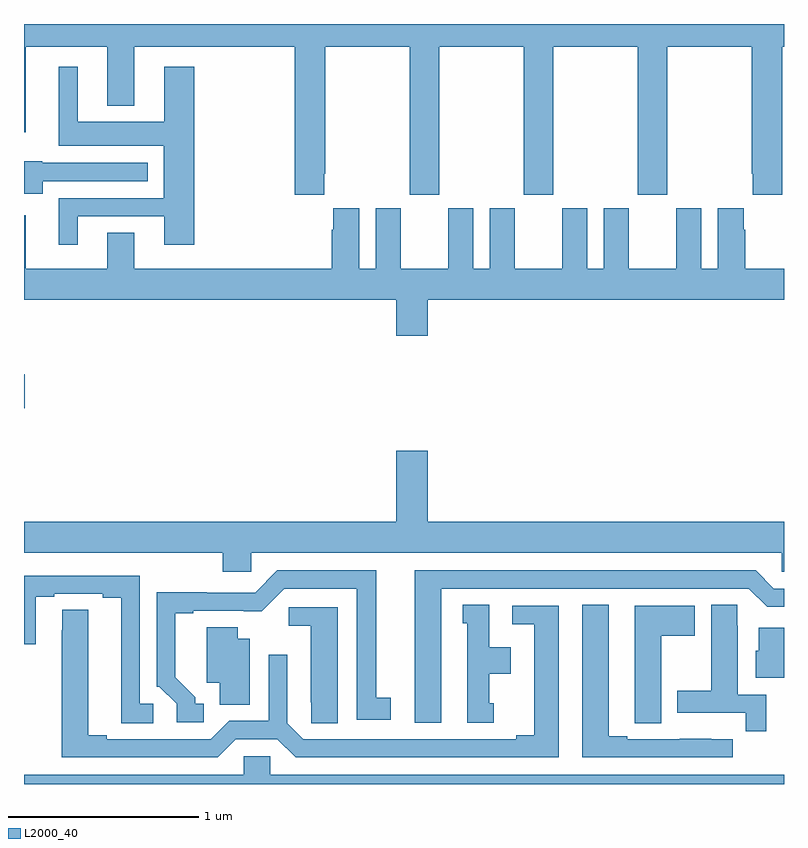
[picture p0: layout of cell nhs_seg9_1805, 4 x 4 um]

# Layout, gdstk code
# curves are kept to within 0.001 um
import gdstk
lib = gdstk.Library(unit=1e-6, precision=1e-09)
def R(c, l, rs):  # rectangles x0, y0, x1, y1
    for r in rs: c.add(gdstk.rectangle(r[:2], r[2:], *l))
def P(c, l, *ps):  # polygons
    for p in ps: c.add(gdstk.Polygon(p, *l))
L2000_40 = (2000, 40)

nhs_seg9_1805 = lib.new_cell('nhs_seg9_1805')
R(nhs_seg9_1805, L2000_40, [(211,1234.478,211.003,1234.656)])
P(nhs_seg9_1805, L2000_40, [(212.581,1235.713),(212.586,1235.713),(212.586,1236.38),(213.031,1236.38),(213.031,1235.601),(213.186,1235.601),(213.186,1236.38),(213.631,1236.38),(213.631,1235.601),(213.786,1235.601),(213.786,1236.38),(214.231,1236.38),(214.231,1235.601),(214.386,1235.601),(214.386,1236.38),(214.831,1236.38),(214.831,1235.713),(214.835,1235.713),(214.835,1235.601),(214.991,1235.601),(214.991,1236.38),(215,1236.38),(215,1236.5),(211,1236.5),(211,1235.931),(211.009,1235.931),(211.009,1236.38),(211.439,1236.38),(211.439,1236.071),(211.579,1236.071),(211.579,1236.38),(212.426,1236.38),(212.426,1235.601),(212.581,1235.601)],
  [(211.282,1235.487),(211.739,1235.487),(211.739,1235.337),(211.895,1235.337),(211.895,1236.274),(211.739,1236.274),(211.739,1235.986),(211.282,1235.986),(211.282,1236.274),(211.184,1236.274),(211.184,1235.858),(211.736,1235.858),(211.736,1235.583),(211.184,1235.583),(211.184,1235.337),(211.282,1235.337)],
  [(211.099,1235.673),(211.651,1235.673),(211.651,1235.769),(211.095,1235.769),(211.095,1235.777),(211,1235.777),(211,1235.606),(211.099,1235.606)],
  [(213.124,1235.048),(215,1235.048),(215,1235.212),(214.796,1235.212),(214.796,1235.417),(214.789,1235.417),(214.789,1235.53),(214.652,1235.53),(214.652,1235.212),(214.564,1235.212),(214.564,1235.53),(214.433,1235.53),(214.433,1235.212),(214.183,1235.212),(214.183,1235.53),(214.052,1235.53),(214.052,1235.212),(213.964,1235.212),(213.964,1235.53),(213.833,1235.53),(213.833,1235.212),(213.583,1235.212),(213.583,1235.53),(213.452,1235.53),(213.452,1235.212),(213.364,1235.212),(213.364,1235.53),(213.233,1235.53),(213.233,1235.212),(212.983,1235.212),(212.983,1235.53),(212.852,1235.53),(212.852,1235.212),(212.764,1235.212),(212.764,1235.53),(212.627,1235.53),(212.627,1235.417),(212.621,1235.417),(212.621,1235.212),(211.579,1235.212),(211.579,1235.402),(211.439,1235.402),(211.439,1235.212),(211.009,1235.212),(211.009,1235.494),(211,1235.494),(211,1235.048),(212.96,1235.048),(212.96,1234.86),(213.124,1234.86)],
  [(212.196,1233.716),(214.989,1233.716),(214.989,1233.618),(215,1233.618),(215,1233.88),(213.124,1233.88),(213.124,1234.255),(212.96,1234.255),(212.96,1233.88),(211,1233.88),(211,1233.716),(212.045,1233.716),(212.045,1233.618),(212.196,1233.618)],
  [(213.196,1233.528),(214.815,1233.528),(214.911,1233.432),(215,1233.432),(215,1233.528),(214.947,1233.528),(214.851,1233.624),(213.056,1233.624),(213.056,1232.823),(213.196,1232.823)],
  [(211.945,1232.922),(211.9,1232.922),(211.9,1232.957),(211.795,1233.062),(211.795,1233.399),(211.891,1233.399),(211.891,1233.411),(212.252,1233.41),(212.37,1233.528),(212.75,1233.528),(212.75,1232.838),(212.929,1232.838),(212.929,1232.954),(212.854,1232.954),(212.854,1233.624),(212.334,1233.624),(212.217,1233.507),(211.961,1233.507),(211.961,1233.509),(211.698,1233.509),(211.698,1233.012),(211.713,1233.012),(211.803,1232.922),(211.803,1232.826),(211.945,1232.826)],
  [(211.681,1232.922),(211.608,1232.922),(211.608,1233.597),(211,1233.597),(211,1233.235),(211.063,1233.235),(211.063,1233.486),(211.159,1233.486),(211.159,1233.501),(211.415,1233.501),(211.415,1233.481),(211.511,1233.481),(211.511,1232.821),(211.681,1232.821)],
  [(214.907,1232.97),(214.756,1232.97),(214.756,1233.332),(214.755,1233.332),(214.755,1233.443),(214.616,1233.443),(214.616,1232.991),(214.439,1232.991),(214.439,1232.874),(214.798,1232.874),(214.798,1232.778),(214.907,1232.778)],
  [(213.472,1232.925),(213.448,1232.925),(213.448,1233.08),(213.562,1233.08),(213.562,1233.22),(213.448,1233.22),(213.448,1233.443),(213.308,1233.443),(213.308,1233.345),(213.332,1233.345),(213.332,1232.823),(213.472,1232.823)],
  [(214.729,1232.736),(214.616,1232.736),(214.616,1232.737),(214.45,1232.737),(214.45,1232.736),(214.174,1232.736),(214.174,1232.751),(214.078,1232.751),(214.078,1233.443),(213.938,1233.443),(213.938,1232.64),(214.729,1232.64)],
  [(214.354,1233.28),(214.531,1233.28),(214.531,1233.439),(214.214,1233.439),(214.214,1232.929),(214.215,1232.929),(214.215,1232.821),(214.354,1232.821)],
  [(212.115,1232.736),(212.333,1232.736),(212.429,1232.64),(213.814,1232.64),(213.814,1233.438),(213.57,1233.438),(213.57,1233.342),(213.686,1233.342),(213.686,1232.756),(213.59,1232.756),(213.59,1232.736),(212.469,1232.736),(212.385,1232.82),(212.385,1233.181),(212.289,1233.181),(212.289,1232.832),(212.079,1232.832),(211.983,1232.736),(211.435,1232.736),(211.435,1232.756),(211.339,1232.756),(211.339,1233.416),(211.2,1233.416),(211.199,1232.64),(212.019,1232.64)],
  [(212.65,1233.429),(212.394,1233.429),(212.394,1233.332),(212.51,1233.332),(212.51,1232.929),(212.511,1232.929),(212.511,1232.821),(212.65,1232.821)],
  [(212.188,1233.265),(212.125,1233.265),(212.125,1233.326),(211.961,1233.326),(211.961,1233.032),(212.03,1233.032),(212.03,1232.917),(212.188,1232.917)],
  [(215,1233.322),(214.868,1233.322),(214.868,1233.201),(214.85,1233.201),(214.85,1233.059),(215,1233.059)],
  [(211,1232.5),(215,1232.5),(215,1232.548),(212.295,1232.548),(212.295,1232.646),(212.157,1232.646),(212.157,1232.548),(211,1232.548)])

lib.write_gds('nhs_seg9_1805.gds')
